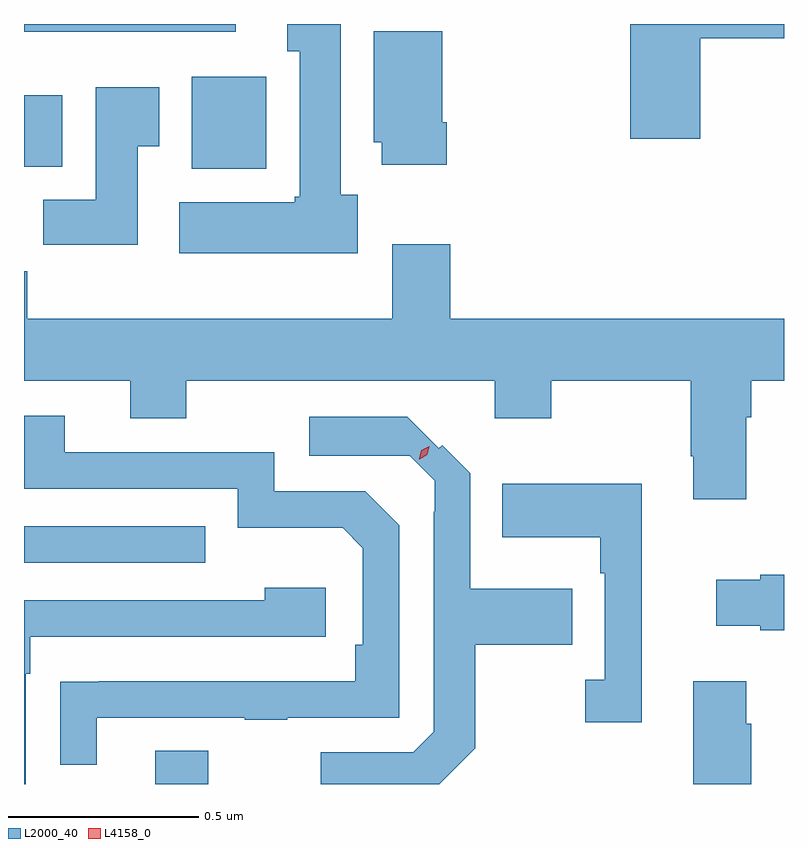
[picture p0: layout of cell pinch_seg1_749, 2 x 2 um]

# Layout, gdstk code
import gdstk
lib = gdstk.Library(unit=1e-6, precision=1e-09)
def R(c, l, rs):  # rectangles x0, y0, x1, y1
    for r in rs: c.add(gdstk.rectangle(r[:2], r[2:], *l))
def P(c, l, *ps):  # polygons
    for p in ps: c.add(gdstk.Polygon(p, *l))
L2000_40 = (2000, 40)
L4158_0 = (4158, 0)

pinch_seg1_749 = lib.new_cell('pinch_seg1_749')
R(pinch_seg1_749, L2000_40, [(658.919,541.347,659.059,541.435), (658.574,541.929,659.051,542.025), (659.015,542.966,659.212,543.208), (658.574,542.972,658.675,543.16), (658.574,543.326,659.131,543.347)])
P(pinch_seg1_749, L2000_40, [(659.452,542.898),(659.407,542.898),(659.407,543.347),(659.267,543.347),(659.267,543.275),(659.3,543.275),(659.3,542.892),(659.287,542.892),(659.287,542.878),(658.983,542.878),(658.983,542.744),(659.452,542.744)],
  [(660.353,543.31),(660.574,543.31),(660.574,543.347),(660.17,543.347),(660.17,543.045),(660.353,543.045)],
  [(659.687,543.088),(659.674,543.088),(659.674,543.328),(659.495,543.328),(659.495,543.036),(659.516,543.036),(659.516,542.976),(659.687,542.976)],
  [(658.873,543.025),(658.93,543.025),(658.93,543.181),(658.763,543.181),(658.763,542.884),(658.624,542.884),(658.624,542.766),(658.873,542.766)],
  [(660.475,542.312),(660.488,542.312),(660.488,542.408),(660.574,542.408),(660.574,542.572),(659.696,542.572),(659.696,542.767),(659.543,542.767),(659.543,542.572),(658.583,542.572),(658.583,542.696),(658.574,542.696),(658.574,542.408),(658.853,542.408),(658.853,542.309),(659.001,542.309),(659.001,542.408),(659.813,542.408),(659.813,542.309),(659.961,542.309),(659.961,542.408),(660.328,542.408),(660.328,542.209),(660.335,542.209),(660.335,542.097),(660.475,542.097)],
  [(658.765,541.521),(659.155,541.521),(659.155,541.516),(659.267,541.516),(659.267,541.521),(659.562,541.521),(659.562,542.028),(659.472,542.118),(659.232,542.118),(659.232,542.22),(658.681,542.22),(658.681,542.316),(658.574,542.316),(658.574,542.124),(659.136,542.124),(659.136,542.021),(659.413,542.021),(659.466,541.968),(659.466,541.714),(659.446,541.714),(659.446,541.617),(658.771,541.617),(658.771,541.616),(658.669,541.616),(658.669,541.398),(658.765,541.398)],
  [(659.761,541.441),(659.761,541.714),(660.017,541.714),(660.017,541.861),(659.748,541.861),(659.748,542.165),(659.674,542.239),(659.665,542.23),(659.582,542.313),(659.325,542.313),(659.325,542.211),(659.589,542.211),(659.655,542.145),(659.655,542.063),(659.652,542.063),(659.652,541.485),(659.598,541.431),(659.355,541.431),(659.355,541.347),(659.667,541.347)],
  [(660.2,542.137),(659.833,542.137),(659.833,541.997),(660.09,541.997),(660.09,541.901),(660.102,541.901),(660.102,541.622),(660.051,541.622),(660.051,541.509),(660.2,541.509)],
  [(660.574,541.898),(660.512,541.898),(660.512,541.885),(660.396,541.885),(660.396,541.763),(660.512,541.763),(660.512,541.751),(660.574,541.751)],
  [(658.578,541.637),(658.591,541.637),(658.591,541.734),(659.368,541.734),(659.368,541.864),(659.207,541.864),(659.207,541.83),(658.574,541.83),(658.574,541.347),(658.578,541.347)],
  [(660.488,541.505),(660.475,541.505),(660.475,541.618),(660.335,541.618),(660.335,541.347),(660.488,541.347)])
P(pinch_seg1_749, L4158_0, [(659.614,542.202),(659.614,542.203),(659.619,542.225),(659.64,542.236),(659.64,542.236),(659.64,542.236),(659.635,542.213),(659.615,542.202)])

lib.write_gds('pinch_seg1_749.gds')
